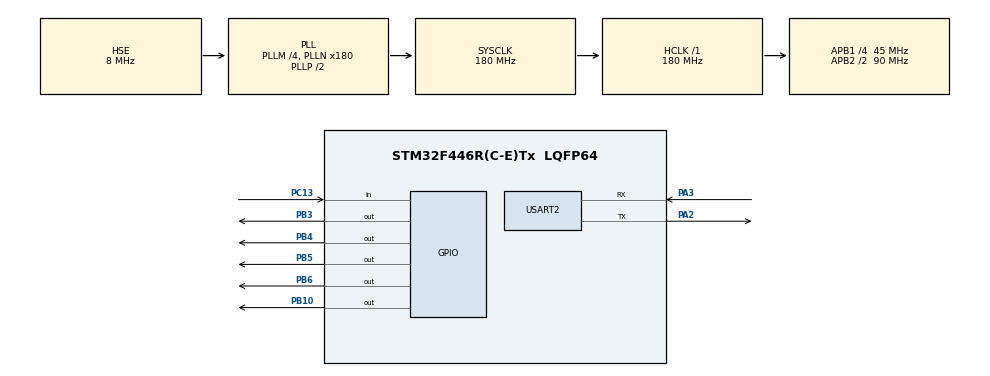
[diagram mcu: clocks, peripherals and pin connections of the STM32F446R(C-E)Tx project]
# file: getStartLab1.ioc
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FREERTOS.Tasks01=Task1,24,128,StartTask1,Default,NULL,Dynamic,NULL,NULL;Task2,24,128,StartTask2,Default,NULL,Dynamic,NULL,NULL;Task3,24,128,StartTask3,Default,NULL,Dynamic,NULL,NULL;Task4,24,128,StartTask4,Default,NULL,Dynamic,NULL,NULL;Task5,24,128,StartTask5,Default,NULL,Dynamic,NULL,NULL;Task06,8,128,StartTask06,Default,NULL,Dynamic,NULL,NULL;StateHandle,8,128,StartStateHandle,Default,NULL,Dynamic,NULL,NULL
FREERTOS.configUSE_NEWLIB_REENTRANT=1
Mcu.Family=STM32F4
Mcu.Name=STM32F446R(C-E)Tx
Mcu.Package=LQFP64
NVIC.PriorityGroup=NVIC_PRIORITYGROUP_4
NVIC.TIM6_DAC_IRQn=true\:15\:0\:false\:false\:true\:false\:false\:true\:true
NVIC.TimeBase=TIM6_DAC_IRQn
NVIC.TimeBaseIP=TIM6
PA13.Mode=Serial_Wire
PA13.Signal=SYS_JTMS-SWDIO
PA14.Mode=Serial_Wire
PA14.Signal=SYS_JTCK-SWCLK
PA2.Mode=Asynchronous
PA2.Signal=USART2_TX
PA3.Mode=Asynchronous
PA3.Signal=USART2_RX
PB10.Signal=GPIO_Output
PB3.Signal=GPIO_Output
PB4.Signal=GPIO_Output
PB5.Signal=GPIO_Output
PB6.Signal=GPIO_Output
PC13.Signal=GPIO_Input
PH0-OSC_IN.Mode=HSE-External-Oscillator
PH0-OSC_IN.Signal=RCC_OSC_IN
PH1-OSC_OUT.Mode=HSE-External-Oscillator
PH1-OSC_OUT.Signal=RCC_OSC_OUT
ProjectManager.HeapSize=0x200
ProjectManager.StackSize=0x400
ProjectManager.TargetToolchain=STM32CubeIDE
RCC.48MHZClocksFreq_Value=84000000
RCC.AHBFreq_Value=180000000
RCC.APB1CLKDivider=RCC_HCLK_DIV4
RCC.APB1Freq_Value=45000000
RCC.APB1TimFreq_Value=90000000
RCC.APB2CLKDivider=RCC_HCLK_DIV2
RCC.APB2Freq_Value=90000000
RCC.APB2TimFreq_Value=180000000
RCC.CortexFreq_Value=180000000
RCC.FLatency-AdvancedSettings=FLASH_LATENCY_5
RCC.HCLKFreq_Value=180000000
RCC.HSE_VALUE=8000000
RCC.HSI_VALUE=16000000
RCC.PLLM=4
RCC.PLLN=180
RCC.PLLSourceVirtual=RCC_PLLSOURCE_HSE
RCC.SYSCLKFreq_VALUE=180000000
RCC.SYSCLKSource=RCC_SYSCLKSOURCE_PLLCLK
RCC.USBFreq_Value=180000000
RCC.VCOOutputFreq_Value=360000000
USART2.VirtualMode=VM_ASYNC
VP_FREERTOS_VS_CMSIS_V2.Mode=CMSIS_V2
VP_SYS_VS_tim6.Mode=TIM6
board=NUCLEO-F446RE

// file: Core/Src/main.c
/* USER CODE BEGIN Header */
/**
  ******************************************************************************
  * @file           : main.c
  * @brief          : Main program body
  ******************************************************************************
  * @attention
  *
  * Copyright (c) 2024 STMicroelectronics.
  * All rights reserved.
  *
  * This software is licensed under terms that can be found in the LICENSE file
  * in the root directory of this software component.
  * If no LICENSE file comes with this software, it is provided AS-IS.
  *
  ******************************************************************************
  */
/* USER CODE END Header */
#include "main.h"
#include "cmsis_os.h"

UART_HandleTypeDef huart2;

/* Definitions for Task1 */
osThreadId_t Task1Handle;
const osThreadAttr_t Task1_attributes = {
  .name = "Task1",
  .stack_size = 128 * 4,
  .priority = (osPriority_t) osPriorityNormal,
};
/* Definitions for Task2 */
osThreadId_t Task2Handle;
const osThreadAttr_t Task2_attributes = {
  .name = "Task2",
  .stack_size = 128 * 4,
  .priority = (osPriority_t) osPriorityNormal,
};
/* Definitions for Task3 */
osThreadId_t Task3Handle;
const osThreadAttr_t Task3_attributes = {
  .name = "Task3",
  .stack_size = 128 * 4,
  .priority = (osPriority_t) osPriorityNormal,
};
/* Definitions for Task4 */
osThreadId_t Task4Handle;
const osThreadAttr_t Task4_attributes = {
  .name = "Task4",
  .stack_size = 128 * 4,
  .priority = (osPriority_t) osPriorityNormal,
};
/* Definitions for Task5 */
osThreadId_t Task5Handle;
const osThreadAttr_t Task5_attributes = {
  .name = "Task5",
  .stack_size = 128 * 4,
  .priority = (osPriority_t) osPriorityNormal,
};
/* Definitions for Task6 */
osThreadId_t Task5Handle;
const osThreadAttr_t Task6_attributes = {
  .name = "Task6",
  .stack_size = 128 * 4,
  .priority = (osPriority_t) osPriorityNormal,
};

void SystemClock_Config(void);
static void MX_GPIO_Init(void);
static void MX_USART2_UART_Init(void);
void StartTask1(void *argument);
void StartTask2(void *argument);
void StartTask3(void *argument);
void StartTask4(void *argument);
void StartTask5(void *argument);
void StartTask6(void *argument);

/* USER CODE BEGIN 0 */
uint8_t dataTask1[] = "Task1: How are you?\r\n";
uint8_t dataTask2[] = "Task2: I am fine and you.\r\n";
uint8_t dataTask3[] = "Task3: It is nice you see here, Task3\r\n";
uint8_t dataTask6[] = "Task1: How are you?\r\n";

int flag = 0;
int state = 0;

/* USER CODE END 0 */

int main(void)
{

  /* MCU Configuration--------------------------------------------------------*/

  /* Reset of all peripherals, Initializes the Flash interface and the Systick. */
  HAL_Init();

  /* Configure the system clock */
  SystemClock_Config();

  /* Initialize all configured peripherals */
  MX_GPIO_Init();
  MX_USART2_UART_Init();

  /* Init scheduler */
  osKernelInitialize();

  /* Create the thread(s) */
  /* creation of Task1 */
  Task1Handle = osThreadNew(StartTask1, NULL, &Task1_attributes);

  /* creation of Task2 */
  Task2Handle = osThreadNew(StartTask2, NULL, &Task2_attributes);

  /* creation of Task3 */
  Task3Handle = osThreadNew(StartTask3, NULL, &Task3_attributes);

  /* creation of Task4 */
  Task4Handle = osThreadNew(StartTask4, NULL, &Task4_attributes);

  /* creation of Task5 */
  Task5Handle = osThreadNew(StartTask5, NULL, &Task5_attributes);

  /* creation of Task6 */
  Task5Handle = osThreadNew(StartTask6, NULL, &Task6_attributes);

  /* Start scheduler */
  osKernelStart();

  /* We should never get here as control is now taken by the scheduler */
  /* Infinite loop */
  while (1)
  {

  }
}

void SystemClock_Config(void)
{
  RCC_OscInitTypeDef RCC_OscInitStruct = {0};
  RCC_ClkInitTypeDef RCC_ClkInitStruct = {0};

  /** Configure the main internal regulator output voltage
  */
  __HAL_RCC_PWR_CLK_ENABLE();
  __HAL_PWR_VOLTAGESCALING_CONFIG(PWR_REGULATOR_VOLTAGE_SCALE1);

  /** Initializes the RCC Oscillators according to the specified parameters
  * in the RCC_OscInitTypeDef structure.
  */
  RCC_OscInitStruct.OscillatorType = RCC_OSCILLATORTYPE_HSE;
  RCC_OscInitStruct.HSEState = RCC_HSE_ON;
  RCC_OscInitStruct.PLL.PLLState = RCC_PLL_ON;
  RCC_OscInitStruct.PLL.PLLSource = RCC_PLLSOURCE_HSE;
  RCC_OscInitStruct.PLL.PLLM = 4;
  RCC_OscInitStruct.PLL.PLLN = 180;
  RCC_OscInitStruct.PLL.PLLP = RCC_PLLP_DIV2;
  RCC_OscInitStruct.PLL.PLLQ = 2;
  RCC_OscInitStruct.PLL.PLLR = 2;
  if (HAL_RCC_OscConfig(&RCC_OscInitStruct) != HAL_OK)
  {
    Error_Handler();
  }

  /** Activate the Over-Drive mode
  */
  if (HAL_PWREx_EnableOverDrive() != HAL_OK)
  {
    Error_Handler();
  }

  /** Initializes the CPU, AHB and APB buses clocks
  */
  RCC_ClkInitStruct.ClockType = RCC_CLOCKTYPE_HCLK|RCC_CLOCKTYPE_SYSCLK
                              |RCC_CLOCKTYPE_PCLK1|RCC_CLOCKTYPE_PCLK2;
  RCC_ClkInitStruct.SYSCLKSource = RCC_SYSCLKSOURCE_PLLCLK;
  RCC_ClkInitStruct.AHBCLKDivider = RCC_SYSCLK_DIV1;
  RCC_ClkInitStruct.APB1CLKDivider = RCC_HCLK_DIV4;
  RCC_ClkInitStruct.APB2CLKDivider = RCC_HCLK_DIV2;

  if (HAL_RCC_ClockConfig(&RCC_ClkInitStruct, FLASH_LATENCY_5) != HAL_OK)
  {
    Error_Handler();
  }
}

static void MX_USART2_UART_Init(void)
{

  huart2.Instance = USART2;
  huart2.Init.BaudRate = 115200;
  huart2.Init.WordLength = UART_WORDLENGTH_8B;
  huart2.Init.StopBits = UART_STOPBITS_1;
  huart2.Init.Parity = UART_PARITY_NONE;
  huart2.Init.Mode = UART_MODE_TX_RX;
  huart2.Init.HwFlowCtl = UART_HWCONTROL_NONE;
  huart2.Init.OverSampling = UART_OVERSAMPLING_16;
  if (HAL_UART_Init(&huart2) != HAL_OK)
  {
    Error_Handler();
  }

}

static void MX_GPIO_Init(void)
{
  GPIO_InitTypeDef GPIO_InitStruct = {0};

  /* GPIO Ports Clock Enable */
  __HAL_RCC_GPIOC_CLK_ENABLE();
  __HAL_RCC_GPIOH_CLK_ENABLE();
  __HAL_RCC_GPIOA_CLK_ENABLE();
  __HAL_RCC_GPIOB_CLK_ENABLE();

  /*Configure GPIO pin Output Level */
  HAL_GPIO_WritePin(GPIOB, GPIO_PIN_3|GPIO_PIN_5|GPIO_PIN_6, GPIO_PIN_RESET);
  HAL_GPIO_WritePin(GPIOB, GPIO_PIN_4|GPIO_PIN_10, GPIO_PIN_SET);

  /*Configure GPIO pin : PC13 */
  GPIO_InitStruct.Pin = GPIO_PIN_13;
  GPIO_InitStruct.Mode = GPIO_MODE_INPUT;
  GPIO_InitStruct.Pull = GPIO_NOPULL;
  HAL_GPIO_Init(GPIOC, &GPIO_InitStruct);

  /*Configure GPIO pins : PB10 PB3 PB4 PB5 */
  GPIO_InitStruct.Pin = GPIO_PIN_10|GPIO_PIN_3|GPIO_PIN_4|GPIO_PIN_5|GPIO_PIN_6;
  GPIO_InitStruct.Mode = GPIO_MODE_OUTPUT_PP;
  GPIO_InitStruct.Pull = GPIO_NOPULL;
  GPIO_InitStruct.Speed = GPIO_SPEED_FREQ_LOW;
  HAL_GPIO_Init(GPIOB, &GPIO_InitStruct);

}

void StartTask1(void *argument)
{
  /* USER CODE BEGIN 5 */
  /* Infinite loop */
  for(;;)
  {
	  //Green

	  HAL_UART_Transmit(&huart2, dataTask1, sizeof(dataTask1), 1000);
	  //HAL_GPIO_WritePin(GPIOB, GPIO_PIN_3|GPIO_PIN_4|GPIO_PIN_5, GPIO_PIN_RESET);

	  while(HAL_GPIO_ReadPin(GPIOC, GPIO_PIN_13));

      HAL_UART_Transmit(&huart2, dataTask1, sizeof(dataTask1), 1000);
      HAL_GPIO_TogglePin(GPIOB,GPIO_PIN_4);//Green LED
      osDelay(17000);
      HAL_GPIO_TogglePin(GPIOB,GPIO_PIN_4);//Green LED

  }
  /* USER CODE END 5 */
}

void StartTask2(void *argument)
{
  /* USER CODE BEGIN StartTask2 */
  /* Infinite loop */
  for(;;)
  {

	  while(HAL_GPIO_ReadPin(GPIOC, GPIO_PIN_13));
	  HAL_GPIO_TogglePin(GPIOB,GPIO_PIN_5);//Green LED
	  osDelay(3000);
	  HAL_GPIO_TogglePin(GPIOB,GPIO_PIN_5);//Green LED
	  osDelay(12000);
	  HAL_GPIO_TogglePin(GPIOB,GPIO_PIN_5);//Green LED
	  osDelay(2000);
	  HAL_GPIO_TogglePin(GPIOB,GPIO_PIN_5);//Green LED

	  /*
	  //Yellow
	  osDelay(10000);
	  HAL_UART_Transmit(&huart2, dataTask2, sizeof(dataTask2), 1000);
	  HAL_GPIO_TogglePin(GPIOB,GPIO_PIN_5);//Orange LED
	  osDelay(2000);
	  HAL_UART_Transmit(&huart2, dataTask2, sizeof(dataTask2), 1000);
	  HAL_GPIO_TogglePin(GPIOB,GPIO_PIN_5);//Orange LED
	  osDelay(10000);
	  HAL_UART_Transmit(&huart2, dataTask2, sizeof(dataTask2), 1000);
	  HAL_GPIO_TogglePin(GPIOB,GPIO_PIN_5);//Orange LED
	  osDelay(3000);
	  HAL_UART_Transmit(&huart2, dataTask2, sizeof(dataTask2), 1000);
	  HAL_GPIO_TogglePin(GPIOB,GPIO_PIN_5);//Orange LED
	   */

  }
  /* USER CODE END StartTask2 */
}

void StartTask3(void *argument)
{
  /* USER CODE BEGIN StartTask3 */
  /* Infinite loop */
  for(;;)
  {
	  //red
	  while(HAL_GPIO_ReadPin(GPIOC, GPIO_PIN_13));
	  osDelay(3000);
	  HAL_GPIO_TogglePin(GPIOB,GPIO_PIN_3);//Green LED
	  osDelay(14000);
	  HAL_GPIO_TogglePin(GPIOB,GPIO_PIN_3);//Green LED
  }
  /* USER CODE END StartTask3 */
}

void StartTask4(void *argument)
{
  /* USER CODE BEGIN StartTask4 */
  /* Infinite loop */
  for(;;)
  {
	  while(HAL_GPIO_ReadPin(GPIOC, GPIO_PIN_13));
	  osDelay(4000);
	  HAL_GPIO_TogglePin(GPIOB,GPIO_PIN_10);//Green LED
	  osDelay(10000);
	  HAL_GPIO_TogglePin(GPIOB,GPIO_PIN_10);//Green LED

  }
  /* USER CODE END StartTask4 */
}

void StartTask5(void *argument)
{
  /* USER CODE BEGIN StartTask5 */
  /* Infinite loop */
	//black button
  for(;;)
  {
	  while(HAL_GPIO_ReadPin(GPIOC, GPIO_PIN_13));
	  osDelay(4000);
	  HAL_GPIO_TogglePin(GPIOB,GPIO_PIN_6);//Green LED
	  osDelay(10000);
	  HAL_GPIO_TogglePin(GPIOB,GPIO_PIN_6);//Green LED

  }
  /* USER CODE END StartTask5 */
}

void StartTask6(void *argument)
{
  /* USER CODE BEGIN StartTask6 */
  /* Infinite loop */
	//black button
  for(;;)
  {

  }
  /* USER CODE END StartTask6 */
}

void HAL_TIM_PeriodElapsedCallback(TIM_HandleTypeDef *htim)
{
  if (htim->Instance == TIM6) {
    HAL_IncTick();
  }
}

void Error_Handler(void)
{
  __disable_irq();
  while (1)
  {
  }
}
